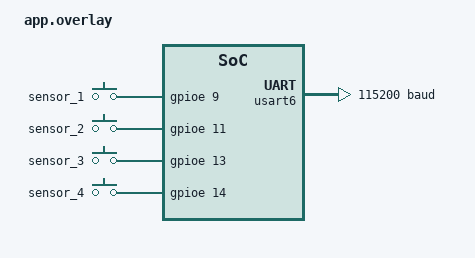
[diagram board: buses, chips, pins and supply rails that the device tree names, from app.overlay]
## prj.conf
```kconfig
CONFIG_CMSIS_DSP=y
CONFIG_CMSIS_DSP_CONTROLLER=y
CONFIG_CMSIS_DSP_FASTMATH=y

CONFIG_MOTOR=y
CONFIG_MOTOR_COMMON=y
CONFIG_MOTOR_DM=y
CONFIG_MOTOR_VESC=y
CONFIG_MOTOR_LK=y
CONFIG_MOTOR_LOG_LEVEL=4
CONFIG_CAN=y
CONFIG_MOTOR_INIT_PRIORITY=90
CONFIG_FPU=y
CONFIG_FPU_SHARING=y
CONFIG_ARES=y
CONFIG_ARES_SBUS=y
CONFIG_EKF_LIB=y
CONFIG_SERIAL=y
CONFIG_SENSOR=y
CONFIG_BMI08X=n
CONFIG_WIT_HWT906=y

CONFIG_AUTO_PROBE_GYRO_BIAS=y

CONFIG_CHASSIS=y

CONFIG_DUAL_PROPOSE_PROTOCOL=y
CONFIG_UART_INTERFACE=y
CONFIG_ARES_UART_THREAD_STACK_SIZE=1024
CONFIG_USB_BULK_INTERFACE=y
CONFIG_UDC_DRIVER_HIGH_SPEED_SUPPORT_ENABLED=n
CONFIG_USBD_MAX_SPEED_FULL=y

# CONFIG_SEGGER_SYSTEMVIEW=y

# CONFIG_TRACING_SYSCALL=n

CONFIG_UDC_DRIVER_LOG_LEVEL_WRN=y
CONFIG_USBD_LOG_LEVEL_WRN=y

CONFIG_LOG_MODE_DEFERRED=y

CONFIG_LOG_BUFFER_SIZE=4096

CONFIG_CBPRINTF_FP_SUPPORT=y
```

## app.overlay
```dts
/ {
	chassis: chassis {
		compatible = "ares,chassis";
		status = "okay";
		wheels = <&steerwheel1  (-5650) (-5650)>,
				<&steerwheel2 (5650) (5650)>,
				<&steerwheel3 (-5650) (5650)>,
				<&steerwheel4 (5650) (-5650)>;
		angle-pid = <&chassis_roll_angle_pid>;
		track_angle;
		max_linear_accel = "15";
	};
	steerwheel {
		steerwheel1: steerwheel1 {
			#wheel-cells = <2>;
			compatible = "ares,steerwheel";
			status = "okay";
			steer-motor = <&motor_steer0>;
			wheel-motor = <&motor_wheel0>;
			wheel-radius = "0.04";
			angle-offset = "295";
			multi_turn;
		};

		steerwheel2: steerwheel2 {
			#wheel-cells = <2>;
			compatible = "ares,steerwheel";
			status = "okay";
			steer-motor = <&motor_steer1>;
			wheel-motor = <&motor_wheel1>;
			wheel-radius = "0.04";
			angle-offset = "277.6";
			multi_turn;
		};

		steerwheel3: steerwheel3 {
			#wheel-cells = <2>;
			compatible = "ares,steerwheel";
			status = "okay";
			steer-motor = <&motor_steer2>;
			wheel-motor = <&motor_wheel2>;
			wheel-radius = "0.04";
			angle-offset = "296.7";
			multi_turn;
		};
		steerwheel4: steerwheel4 {
			#wheel-cells = <2>;
			compatible = "ares,steerwheel";
			status = "okay";
			steer-motor = <&motor_steer3>;
			wheel-motor = <&motor_wheel3>;
			wheel-radius = "0.04";
			angle-offset = "172.2";
			multi_turn;
		};
	};

	motor {
		motor_wheel0: motor_wheel0{
			compatible = "vesc,motor";
            id = <41>;
            can_channel = <&can2>;
            capabilities = "angle", "speed", "torque";
            gear_ratio = "1.0f";
            kv = "150.0f";
            pole_pairs = "14";
            p_max = "12.57f";
            v_max = "314.0f";
            t_max = "1.5f";
            i_max = "2.f";
            status = "okay";
		};

		motor_wheel1: motor_wheel1{
			compatible = "vesc,motor";
            id = <42>;
            can_channel = <&can1>;
            capabilities = "angle", "speed", "torque";
            gear_ratio = "1.0f";
            kv = "150.0f";
            pole_pairs = "14";
            p_max = "12.57f";
            v_max = "314.0f";
            t_max = "1.5f";
            i_max = "2.f";
            status = "okay";
		};

		motor_wheel2: motor_wheel2{
			compatible = "vesc,motor";
            id = <43>;
            can_channel = <&can2>;
            capabilities = "angle", "speed", "torque";
            gear_ratio = "1.0f";
            kv = "150.0f";
            pole_pairs = "14";
            p_max = "12.57f";
            v_max = "314.0f";
            t_max = "1.5f";
            i_max = "2.f";
            status = "okay";
		};
		motor_wheel3: motor_wheel3{
			compatible = "vesc,motor";
            id = <44>;
            can_channel = <&can1>;
            capabilities = "angle", "speed", "torque";
            gear_ratio = "1.0f";
            kv = "150.0f";
            pole_pairs = "14";
            p_max = "12.57f";
            v_max = "314.0f";
            t_max = "1.5f";
            i_max = "2.f";
            status = "okay";
		};
		motor_steer0: motor_steer0{
			compatible = "lk,motor";
			id = <1>;
			rx_id = <0x00>;
			tx_id = <0x01>;
			status = "okay";
			can_channel = <&can2>;
			controllers = <&steer_angle_pid &steer_speed_pid &steer_torque_pid>;
			capabilities = "angle", "speed", "torque";
		};

		motor_steer1: motor_steer1{
			compatible = "lk,motor";
			id = <2>;
			rx_id = <0x00>;
			tx_id = <0x02>;
			status = "okay";
			can_channel = <&can1>;
			controllers = <&steer_angle_pid &steer_speed_pid &steer_torque_pid>;
			capabilities = "angle", "speed", "torque";
		};

		motor_steer2: motor_steer2{
			compatible = "lk,motor";
			id = <3>;
			rx_id = <0x00>;
			tx_id = <0x03>;
			status = "okay";
			can_channel = <&can2>;
			controllers = <&steer_angle_pid &steer_speed_pid &steer_torque_pid>;
			capabilities = "angle", "speed", "torque";
		};
		motor_steer3: motor_steer3{
			compatible = "lk,motor";
			id = <4>;
			rx_id = <0x00>;
			tx_id = <0x04>;
			status = "okay";
			can_channel = <&can1>;
			controllers = <&steer_angle_pid &steer_speed_pid &steer_torque_pid>;
			capabilities = "angle", "speed", "torque";
		};
		dm_motor0: dm_motor0{
			compatible = "dm,motor";
			id = <1>;
			rx_id = <0x1A>;
			tx_id = <0x0A>;
			v_max = "785";
			status = "okay";
			can_channel = <&can2>;
			controllers = <&mit>;
			capabilities = "mit";
			t_max = "5";
			freq = <1000>;
		};
		dm_motor1: dm_motor1{
			compatible = "dm,motor";
			id = <2>;
			rx_id = <0x1B>;
			tx_id = <0x0B>;
			v_max = "785";
			status = "okay";
			can_channel = <&can1>;
			controllers = <&mit>;
			capabilities = "mit";
			t_max = "5";
			freq = <1000>;
		};
		dm_motor2: dm_motor2{
			compatible = "dm,motor";
			id = <3>;
			rx_id = <0x1C>;
			tx_id = <0x0C>;
			v_max = "785";
			status = "okay";
			can_channel = <&can2>;
			controllers = <&mit>;
			capabilities = "mit";
			t_max = "5";
			freq = <1000>;
		};
		dm_motor3: dm_motor3{
			compatible = "dm,motor";
			id = <4>;
			rx_id = <0x1D>;
			tx_id = <0x0D>;
			v_max = "785";
			status = "okay";
			can_channel = <&can1>;
			controllers = <&mit>;
			capabilities = "mit";
			t_max = "5";
			freq = <1000>;
		};
	};
	buttons {
        compatible = "gpio-keys";

        /* 定义第一个光电开关，节点标签为 sensor_1 */
        sensor_1: photoelectric_switch_1 {
            /* 注意：这里的 &gpio0 和 12 需要根据你实际的板子修改 */
            gpios = <&gpioe 9 (GPIO_ACTIVE_HIGH | GPIO_PULL_DOWN)>;
        };

        /* 定义第二个光电开关，节点标签为 sensor_2 */
        sensor_2: photoelectric_switch_2 {
            /* 注意：这里的 &gpio0 和 13 需要根据你实际的板子修改 */
            gpios = <&gpioe 11 (GPIO_ACTIVE_HIGH | GPIO_PULL_DOWN)>;
        };
		sensor_3: photoelectric_switch_3 {
            /* 注意：这里的 &gpio0 和 12 需要根据你实际的板子修改 */
            gpios = <&gpioe 13 (GPIO_ACTIVE_HIGH | GPIO_PULL_DOWN)>;
        };

        /* 定义第二个光电开关，节点标签为 sensor_2 */
        sensor_4: photoelectric_switch_4 {
            /* 注意：这里的 &gpio0 和 13 需要根据你实际的板子修改 */
            gpios = <&gpioe 14 (GPIO_ACTIVE_HIGH | GPIO_PULL_DOWN)>;
        };
    };
	pid {
		
		mit: mit{
			compatible = "pid,single";
			k_p = "60.0";
			k_d = "1.0";
		};
		steer_angle_pid: steer_angle_pid {
			#controller-cells = <0>;
			compatible = "pid,single";
			k_p = "40";
			k_i = "0.1";
			k_d = "5";
		};
		steer_speed_pid: steer_speed_pid {
			#controller-cells = <0>;
			compatible = "pid,single";
			k_p = "100";
			k_i = "0.1";
			k_d = "10";
		};

		steer_torque_pid: steer_torque_pid {
			#controller-cells = <0>;
			compatible = "pid,single";
			k_p = "150";
			k_i = "1.0";
			k_d = "15";
			
		};
		chassis_roll_angle_pid: chassis_roll_angle_pid {
			#controller-cells = <0>;
			compatible = "pid,single";
			k_p = "0.3";
			k_d = "2.7";
		};

		
	};
	
	sbus0: sbus0 {
		compatible = "ares,sbus";
		status = "okay";
	};
};
&cdc_acm_uart0 {
	status = "disabled";
};

&usart6 {
	status = "okay";
	current-speed = <115200>;

	hwtimu: hwt906 {
		compatible = "wit,hwt906";
		status = "disabled";
	};
};
```

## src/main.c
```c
#include <math.h>
#include <stdbool.h>
#include <stddef.h>
#include <stdint.h>
#include <errno.h>
#include <zephyr/device.h>
#include <zephyr/logging/log.h>
#include <zephyr/kernel.h>
#include <zephyr/drivers/motor.h>
#include <zephyr/drivers/sbus.h>
#include <zephyr/drivers/chassis.h>
#include <ares/board/init.h>
#include <ares/interface/usb/usb_bulk.h>
#include <ares/interface/uart/uart.h>
#include <ares/protocol/dual/dual_protocol.h>
#include <ares/ares_comm.h>
#include <sys/_stdint.h>
#include "devices.h"
#include "zephyr/drivers/gpio.h"
#include <arm_math.h>

LOG_MODULE_REGISTER(main, LOG_LEVEL_DBG);
#define deg2high(deg)  ((deg)*3.14159f * 45.0f / 360.0f)
#define high2deg(high) ((high)*360.0f / (3.14159f * 45.0f))
#define CHASSIS_CMD_X_IDX      0
#define CHASSIS_CMD_Y_IDX      1
#define CHASSIS_CMD_GYRO_IDX   2
#define CHASSIS_RX_TIMEOUT_MISSES 10U

/* Runtime source select: SBUS channel 5 controls speed source
 * Channel 5 > 0.3 (switch up) -> SBUS, else -> USB
 * When SBUS not receiving, channel returns 0.0 -> falls back to USB */
#define SBUS_SRC_SWITCH_CH 5

/* ==================== USB 协议 (原 2026_R2usb_imu) ==================== */

DUAL_PROPOSE_PROTOCOL_DEFINE(dual_protocol);
ARES_BULK_INTERFACE_DEFINE(usb_bulk_interface);

/* ==================== UART 协议 (对 relay_comm) ==================== */

#define RELAY_UART_NODE DT_NODELABEL(usart6)
static const struct device *relay_uart_dev = DEVICE_DT_GET(RELAY_UART_NODE);

ARES_UART_INTERFACE_DEFINE(relay_uart_interface);
DUAL_PROPOSE_PROTOCOL_DEFINE(relay_uart_protocol);

/* relay_comm UART 侧同步 ID */
#define RELAY_UART_SYNC_TX 0x0200 /* 发给 relay_comm (对应其 RX) */
#define RELAY_UART_SYNC_RX 0x0100 /* 收自 relay_comm (对应其 TX) */

/* relay 数据 USB 侧同步 ID */
#define RELAY_USB_SYNC_TX 0x0202 /* 上传 relay 状态给 PC */
#define RELAY_USB_SYNC_RX 0x0103 /* 接收 PC 的 relay 指令 */

/* 2 个 float = 8 字节 */
#define RELAY_DATA_LEN 8

/* 标志位 magic number (UART 侧, 与 relay_comm 一致) */
typedef union {
	float    f;
	uint32_t u;
} flag_val_t;

#define RELAY_FLAG_DONE_U32    0x4B0CD0F1
#define RELAY_FLAG_PENDING_U32 0x4E0DD0F1

/* USB 侧简化标志 */
#define USB_FLAG_DONE    -1.0f
#define USB_FLAG_PENDING  1.0f

/* UART 侧缓冲区 */
static float relay_uart_tx[2];
static float relay_uart_rx[2];
static uint8_t relay_uart_tx_buf[RELAY_DATA_LEN];
static uint8_t relay_uart_rx_buf[RELAY_DATA_LEN];

/* USB 侧缓冲区 */
static float relay_usb_tx[2];
static float relay_usb_rx[2];
static uint8_t relay_usb_tx_buf[RELAY_DATA_LEN];
static uint8_t relay_usb_rx_buf[RELAY_DATA_LEN];

/* 同步表 */
static sync_table_t *relay_uart_tx_pack;
static sync_table_t *relay_uart_rx_pack;
static sync_table_t *relay_usb_tx_pack;
static sync_table_t *relay_usb_rx_pack;

/* 统计 */
static uint32_t relay_uart_rx_cnt;
static uint32_t relay_uart_tx_cnt;
static uint32_t relay_usb_rx_cnt;
static uint32_t relay_usb_tx_cnt;
static uint32_t relay_usb_tx_fail;
static uint32_t relay_uart_tx_fail;
static uint32_t angle_tx_fail;

/* 优雅退化: 持续失败不刷屏, 每个错误独立计数 */
static uint32_t uart_fwd_fail_last_log;
static uint32_t usb_tx_fail_last_log;
static uint32_t angle_fail_last_log;

/* ==================== Relay 标志位转换 ==================== */

static float convert_relay_flag_to_usb(float relay_flag)
{
	flag_val_t v;
	v.f = relay_flag;
	if (v.u == RELAY_FLAG_DONE_U32) {
		return USB_FLAG_DONE;
	}
	return USB_FLAG_PENDING;
}

/* ==================== Relay UART 接收回调 (从 relay_comm 来) ==================== */

static void relay_uart_rx_cb(int status)
{
	if (status == SYNC_PACK_STATUS_DONE) {
		relay_uart_rx_cnt++;
		memcpy(relay_uart_rx, relay_uart_rx_buf, RELAY_DATA_LEN);
		relay_usb_tx[0] = convert_relay_flag_to_usb(relay_uart_rx[0]);
		relay_usb_tx[1] = relay_uart_rx[1];
		memcpy(relay_usb_tx_buf, relay_usb_tx, RELAY_DATA_LEN);
		/* 每 500 帧 (~5s) 打印 */
		if (relay_uart_rx_cnt % 500 == 0) {
			LOG_INF("[UART_RX] #%u flag_raw=0x%08X done=%.0f",
				relay_uart_rx_cnt,
				((flag_val_t *)relay_uart_rx)[0].u,
				(double)relay_usb_tx[0]);
		}
	}
}

/* ==================== Relay USB 接收回调 (从 PC 来, 转发给 relay_comm) ==================== */

static void relay_usb_rx_cb(int status)
{
	if (status == SYNC_PACK_STATUS_DONE) {
		relay_usb_rx_cnt++;
		memcpy(relay_usb_rx, relay_usb_rx_buf, RELAY_DATA_LEN);
		memcpy(relay_uart_tx, relay_usb_rx, sizeof(relay_usb_rx));
		memcpy(relay_uart_tx_buf, relay_uart_tx, RELAY_DATA_LEN);
		int ret = dual_sync_flush(&relay_uart_protocol, relay_uart_tx_pack);
		if (ret != 0) {
			relay_uart_tx_fail++;
			if (uart_fwd_fail_last_log == 0 ||
			    relay_uart_tx_fail - uart_fwd_fail_last_log >= 100) {
				LOG_ERR("[USB_RX] UART forward fail: %d (fail=%u)",
					ret, relay_uart_tx_fail);
				uart_fwd_fail_last_log = relay_uart_tx_fail;
			}
		}
		relay_uart_tx_cnt++;
		/* 每 500 个 PC 指令打印一次 */
		if (relay_usb_rx_cnt % 500 == 0) {
			LOG_INF("[USB_RX] #%u cmd=%d sub=%.2f", relay_usb_rx_cnt,
				(int)relay_usb_rx[0], (double)relay_usb_rx[1]);
		}
	}
}

/* ==================== Relay UART 初始化 ==================== */

static int relay_uart_init(void)
{
	if (!device_is_ready(relay_uart_dev)) {
		LOG_WRN("Relay UART 设备未就绪, 跳过 relay 桥接");
		return -ENODEV;
	}

	ares_uart_init_dev(&relay_uart_interface, relay_uart_dev);
	int ret = ares_bind_interface(&relay_uart_interface, &relay_uart_protocol);
	if (ret < 0) {
		LOG_ERR("Relay UART 绑定失败: %d", ret);
		return ret;
	}

	/* UART 侧: TX 发给 relay_comm, RX 收自 relay_comm */
	relay_uart_tx_pack = dual_sync_add(&relay_uart_protocol, RELAY_UART_SYNC_TX,
					   relay_uart_tx_buf, RELAY_DATA_LEN, NULL);
	relay_uart_rx_pack = dual_sync_add(&relay_uart_protocol, RELAY_UART_SYNC_RX,
					   relay_uart_rx_buf, RELAY_DATA_LEN, relay_uart_rx_cb);

	/* USB 侧: TX 上传给 PC, RX 收自 PC */
	relay_usb_tx_pack = dual_sync_add(&dual_protocol, RELAY_USB_SYNC_TX,
					  relay_usb_tx_buf, RELAY_DATA_LEN, NULL);
	relay_usb_rx_pack = dual_sync_add(&dual_protocol, RELAY_USB_SYNC_RX,
					  relay_usb_rx_buf, RELAY_DATA_LEN, relay_usb_rx_cb);

	LOG_INF("Relay 桥接初始化完成 (UART TX:0x%04X RX:0x%04X, USB TX:0x%04X RX:0x%04X)",
		RELAY_UART_SYNC_TX, RELAY_UART_SYNC_RX,
		RELAY_USB_SYNC_TX, RELAY_USB_SYNC_RX);
	return 0;
}

/* ==================== 底盘 / 电机 / 传感器 (原 2026_R2usb_imu, 不变) ==================== */

sync_table_t *angle_tx;

float chassis_cmd[3] = {0};
float height_cmd[4] = {0};
float angle[12] = {0};
uint8_t chassis_cmd_buf[12] = {0};
uint8_t height_cmd_buf[16] = {0};
uint8_t anglebuf[48] = {0};

static struct gpio_callback sensor1_cb_data;
static struct gpio_callback sensor2_cb_data;
static struct gpio_callback sensor3_cb_data;
static struct gpio_callback sensor4_cb_data;
static volatile uint32_t chassis_rx_count;
static volatile uint32_t height_rx_count;

void unified_sensor_callback(const struct device *port, struct gpio_callback *cb, uint32_t pins);

static void clear_chassis_cmd(void)
{
	chassis_cmd[CHASSIS_CMD_X_IDX] = 0.0f;
	chassis_cmd[CHASSIS_CMD_Y_IDX] = 0.0f;
	chassis_cmd[CHASSIS_CMD_GYRO_IDX] = 0.0f;
}

static int check_device_ready(const struct device *dev, const char *name)
{
	if (dev == NULL || !device_is_ready(dev)) {
		LOG_ERR("device not ready: %s", name);
		return -ENODEV;
	}

	return 0;
}

static int setup_sensor_input(const struct gpio_dt_spec *sensor, struct gpio_callback *cb_data,
			      const char *name)
{
	int ret;

	if (!gpio_is_ready_dt(sensor)) {
		LOG_ERR("gpio not ready: %s", name);
		return -ENODEV;
	}

	ret = gpio_pin_configure_dt(sensor, GPIO_INPUT);
	if (ret < 0) {
		LOG_ERR("failed to configure %s: %d", name, ret);
		return ret;
	}

	ret = gpio_pin_interrupt_configure_dt(sensor, GPIO_INT_EDGE_BOTH);
	if (ret < 0) {
		LOG_ERR("failed to configure irq for %s: %d", name, ret);
		return ret;
	}

	gpio_init_callback(cb_data, unified_sensor_callback, BIT(sensor->pin));
	ret = gpio_add_callback(sensor->port, cb_data);
	if (ret < 0) {
		LOG_ERR("failed to add callback for %s: %d", name, ret);
		return ret;
	}

	return 0;
}

void unified_sensor_callback(const struct device *port, struct gpio_callback *cb, uint32_t pins)
{
	if (port == sensor1.port && (pins & BIT(sensor1.pin))) {
		if (gpio_pin_get_dt(&sensor1) > 0) {
			angle[0] = 1.0f;
		} else {
			angle[0] = 0.0f;
		}
	}

	if (port == sensor2.port && (pins & BIT(sensor2.pin))) {
		if (gpio_pin_get_dt(&sensor2) > 0) {
			angle[1] = 1.0f;
		} else {
			angle[1] = 0.0f;
		}
	}

	if (port == sensor3.port && (pins & BIT(sensor3.pin))) {
		if (gpio_pin_get_dt(&sensor3) > 0) {
			angle[2] = 1.0f;
		} else {
			angle[2] = 0.0f;
		}
	}

	if (port == sensor4.port && (pins & BIT(sensor4.pin))) {
		if (gpio_pin_get_dt(&sensor4) > 0) {
			angle[3] = 1.0f;
		} else {
			angle[3] = 0.0f;
		}
	}
}

int rank[4] = {1, 1, -1, -1};
bool ups[4] = {true, true, true, true};
const struct device *dmmotor[4];
void run()
{
	for (int id = 0; id < 4; id++) {
		motor_set_mit(dmmotor[id], 10.0f, -30.0f * rank[id], 0.0);
		ups[id] = true;
		k_sleep(K_USEC(130));
	}
}
void lift(int id, bool up)
{
	if (up && (!ups[id])) {
		motor_set_mit(dmmotor[id], 10.0f, 0.0f * rank[id], 0.0);
		ups[id] = true;
	} else if ((!up) && (ups[id])) {
		motor_set_mit(dmmotor[id], 10.0f, -510.0f * rank[id], 0.0);
		ups[id] = false;
	}
	k_sleep(K_USEC(130));
}
void lifthigh(int id, float high)
{
	if (high > 400.0f) {
		high = 400.0f;
	} else if (high < 0.0f) {
		high = 0.0f;
	}
	if (dmmotor[id] != NULL) {
		motor_set_mit(dmmotor[id], 80.0f, -1.0f * rank[id] * (float)high2deg(high), 0.0f);
	}

	k_sleep(K_USEC(130));
}
int cnt = 0;
void console_feedback(void *arg1, void *arg2, void *arg3)
{

	bool zeroed = false;
	float linear_magnitude;
	bool in_deadzone;
	float X = 0.0f, Y = 0.0f, angvel = 0.0f;
	while (1) {
		k_msleep(2);

		lifthigh(0, height_cmd[0]);
		lifthigh(1, height_cmd[1]);
		lifthigh(2, height_cmd[2]);
		lifthigh(3, height_cmd[3]);

		if (sbus_get_percent(sbus, SBUS_SRC_SWITCH_CH) > 0.3f) {
			/* Speed source: SBUS */
			angvel = -sbus_get_percent(sbus, 0);
			X = -sbus_get_percent(sbus, 3);
			Y = -sbus_get_percent(sbus, 1);

			angle[11] = sbus_get_percent(sbus, 4);
			linear_magnitude = sqrtf(X * X + Y * Y);
			in_deadzone = ((linear_magnitude < 0.06f) && (fabsf(angvel) < 0.06f));
			if (linear_magnitude < 0.06f) {
				X = 0;
				Y = 0;
			}
			if (in_deadzone) {
				// chassis_set_static(chassis, true);
				chassis_set_speed(chassis, 0, 0);
				chassis_set_gyro(chassis, 0);
				zeroed = true;
			} else {
				chassis_set_static(chassis, false);
				chassis_set_speed(chassis, Y, X);
				chassis_set_gyro(chassis, angvel);
				angle[8] = X;
				angle[9] = Y;
				angle[10] = angvel * 10.0f;
				zeroed = false;
			}
		} else {
			/* Speed source: USB */
			X = chassis_cmd[CHASSIS_CMD_X_IDX];
			Y = chassis_cmd[CHASSIS_CMD_Y_IDX];
			angvel = chassis_cmd[CHASSIS_CMD_GYRO_IDX];
			chassis_set_static(chassis, false);
			chassis_set_speed(chassis, X, Y);
			chassis_set_gyro(chassis, angvel);
			zeroed = false;
			angle[8] = X;
			angle[9] = Y;
			angle[10] = angvel;
		}
		if (cnt++ % 1000 == 0) {
			LOG_INF("[CHASSIS] sensor=[%.0f,%.0f,%.0f,%.0f] high=[%.1f,%.1f,%.1f,%.1f] cmd=(%.1f,%.1f,%.1f) rx(ch=%u,h=%u)",
				(double)angle[0], (double)angle[1],
				(double)angle[2], (double)angle[3],
				(double)angle[4], (double)angle[5],
				(double)angle[6], (double)angle[7],
				(double)X, (double)Y, (double)angvel,
				chassis_rx_count, height_rx_count);
		}
	}
}

K_THREAD_DEFINE(feedback_thread, 4096, console_feedback, NULL, NULL, NULL, 2, 0, 100);
uint32_t log_cnt;

int chassis_cmd_rx_cb(int status)
{
	if (status == SYNC_PACK_STATUS_DONE) {
		memcpy(chassis_cmd, chassis_cmd_buf, sizeof(chassis_cmd));
		chassis_rx_count++;
	}
	return 0;
}

int height_cmd_rx_cb(int status)
{

	if (status == SYNC_PACK_STATUS_DONE) {
		memcpy(height_cmd, height_cmd_buf, sizeof(height_cmd));
		height_rx_count++;

	}
	return 0;
}
int prepare(void)
{
	int ret;

	ret = check_device_ready(chassis, "chassis");
	if (ret < 0) {
		return ret;
	}

	ret = check_device_ready(dm_motor1, "dm_motor1");
	if (ret < 0) {
		return ret;
	}
	ret = check_device_ready(dm_motor2, "dm_motor2");
	if (ret < 0) {
		return ret;
	}
	ret = check_device_ready(dm_motor3, "dm_motor3");
	if (ret < 0) {
		return ret;
	}
	ret = check_device_ready(dm_motor4, "dm_motor4");
	if (ret < 0) {
		return ret;
	}
	ret = check_device_ready(wheel_motor1, "wheel_motor1");
	if (ret < 0) {
		return ret;
	}
	ret = check_device_ready(wheel_motor2, "wheel_motor2");
	if (ret < 0) {
		return ret;
	}
	ret = check_device_ready(wheel_motor3, "wheel_motor3");
	if (ret < 0) {
		return ret;
	}
	ret = check_device_ready(wheel_motor4, "wheel_motor4");
	if (ret < 0) {
		return ret;
	}
	ret = check_device_ready(steer_motor1, "steer_motor1");
	if (ret < 0) {
		return ret;
	}
	ret = check_device_ready(steer_motor2, "steer_motor2");
	if (ret < 0) {
		return ret;
	}
	ret = check_device_ready(steer_motor3, "steer_motor3");
	if (ret < 0) {
		return ret;
	}
	ret = check_device_ready(steer_motor4, "steer_motor4");
	if (ret < 0) {
		return ret;
	}
	ret = check_device_ready(sbus, "sbus");
	if (ret < 0) {
		return ret;
	}

	dmmotor[0] = dm_motor1;
	dmmotor[1] = dm_motor2;
	dmmotor[2] = dm_motor3;
	dmmotor[3] = dm_motor4;
	motor_control(dm_motor1, ENABLE_MOTOR);
	motor_control(dm_motor2, ENABLE_MOTOR);
	motor_control(dm_motor3, ENABLE_MOTOR);
	motor_control(dm_motor4, ENABLE_MOTOR);
	motor_set_mode(dm_motor1, MIT);
	motor_set_mode(dm_motor2, MIT);
	motor_set_mode(dm_motor3, MIT);
	motor_set_mode(dm_motor4, MIT);
	motor_control(wheel_motor1, ENABLE_MOTOR);
	motor_control(wheel_motor2, ENABLE_MOTOR);
	motor_control(wheel_motor3, ENABLE_MOTOR);
	motor_control(wheel_motor4, ENABLE_MOTOR);
	motor_set_mode(wheel_motor1, ML_SPEED);
	motor_set_mode(wheel_motor2, ML_SPEED);
	motor_set_mode(wheel_motor3, ML_SPEED);
	motor_set_mode(wheel_motor4, ML_SPEED);
	motor_control(steer_motor1, ENABLE_MOTOR);
	motor_control(steer_motor2, ENABLE_MOTOR);
	motor_control(steer_motor3, ENABLE_MOTOR);
	motor_control(steer_motor4, ENABLE_MOTOR);

	ret = setup_sensor_input(&sensor1, &sensor1_cb_data, "sensor1");
	if (ret < 0) {
		return ret;
	}
	ret = setup_sensor_input(&sensor2, &sensor2_cb_data, "sensor2");
	if (ret < 0) {
		return ret;
	}
	ret = setup_sensor_input(&sensor3, &sensor3_cb_data, "sensor3");
	if (ret < 0) {
		return ret;
	}
	ret = setup_sensor_input(&sensor4, &sensor4_cb_data, "sensor4");
	if (ret < 0) {
		return ret;
	}

	angle[0] = gpio_pin_get_dt(&sensor1) > 0 ? 1.0f : 0.0f;
	angle[1] = gpio_pin_get_dt(&sensor2) > 0 ? 1.0f : 0.0f;
	angle[2] = gpio_pin_get_dt(&sensor3) > 0 ? 1.0f : 0.0f;
	angle[3] = gpio_pin_get_dt(&sensor4) > 0 ? 1.0f : 0.0f;

	return 0;
}
int main(void)
{
	int ret;
	sync_table_t *chassis_rx;
	sync_table_t *height_rx;
	uint32_t last_chassis_rx_count = 0U;
	uint32_t missed_chassis_cycles = 0U;

	k_msleep(100);
	ret = prepare();
	if (ret < 0) {
		LOG_ERR("prepare failed: %d", ret);
		return ret;
	}

	run();
	chassis_set_enabled(chassis, true);
	chassis_set_gyro(chassis, 0);
	LOG_INF("2026_R2usb_arm started: 0x0101=chassis, 0x0102=height, 0x0103=relay_cmd, 0x0201=telem, 0x0202=relay_stat");

	ret = ares_bind_interface(&usb_bulk_interface, &dual_protocol);
	if (ret < 0) {
		LOG_ERR("failed to bind usb interface: %d", ret);
		return ret;
	}

	chassis_rx = dual_sync_add(&dual_protocol, 0x0101, chassis_cmd_buf, sizeof(chassis_cmd_buf),
				     (dual_trans_cb_t)chassis_cmd_rx_cb);
	height_rx = dual_sync_add(&dual_protocol, 0x0102, height_cmd_buf, sizeof(height_cmd_buf),
				    (dual_trans_cb_t)height_cmd_rx_cb);
	angle_tx = dual_sync_add(&dual_protocol, 0x0201, anglebuf, 48, NULL);
	if (chassis_rx == NULL || height_rx == NULL || angle_tx == NULL) {
		LOG_ERR("failed to register dual sync packs");
		return -ENOMEM;
	}

	/* relay 桥接初始化 (失败不阻塞, 仅打印警告) */
	relay_uart_init();

	/* relay_usb_tx[0] 初始化为 PENDING，避免数据通之前 done=0 */
	relay_usb_tx[0] = USB_FLAG_PENDING;

	bool usb_toggle = false;

	while (1) {
		k_msleep(5);

		if (chassis_rx_count != last_chassis_rx_count) {
			last_chassis_rx_count = chassis_rx_count;
			missed_chassis_cycles = 0U;
		} else if (missed_chassis_cycles < CHASSIS_RX_TIMEOUT_MISSES) {
			missed_chassis_cycles++;
		}

		if (missed_chassis_cycles >= CHASSIS_RX_TIMEOUT_MISSES) {
			clear_chassis_cmd();
		}

		for (int i = 0; i < 4; i++) {
			if(rank[i] == 1) {
				angle[i + 4] = -1.0f * deg2high((float)motor_get_angle(dmmotor[i]));
			} else {
				angle[i + 4] = 900.0f + deg2high((float)motor_get_angle(dmmotor[i]));
			}
		}
		memcpy(anglebuf, angle, sizeof(angle));

		/* 交替发送 angle_tx 和 relay_usb_tx (各 100Hz)，
		 * 避免同一 USB 接口 200Hz 双 flush 导致 EBUSY */
		usb_toggle = !usb_toggle;

		if (usb_toggle) {
			int ret = dual_sync_flush(&dual_protocol, angle_tx);
			if (ret != 0 && ret != -EBUSY) {
				angle_tx_fail++;
				if (angle_fail_last_log == 0 ||
				    angle_tx_fail - angle_fail_last_log >= 100) {
					LOG_ERR("[USB_ANGLE_FAIL] ret=%d (fail=%u)", ret, angle_tx_fail);
					angle_fail_last_log = angle_tx_fail;
				}
			}
		}

		/* relay_usb_tx 数据由 relay_uart_rx_cb 填充，此处无需额外处理 */

		/* 上传 relay 状态给 PC */
		if (!usb_toggle && relay_usb_tx_pack != NULL) {
			int ret = dual_sync_flush(&dual_protocol, relay_usb_tx_pack);
			if (ret != 0) {
				relay_usb_tx_fail++;
				/* EBUSY(-16) 静默; 其他错误每100次报一次 */
				if (ret != -EBUSY &&
				    (usb_tx_fail_last_log == 0 ||
				     relay_usb_tx_fail - usb_tx_fail_last_log >= 100)) {
					LOG_ERR("[USB_TX_FAIL] ret=%d (fail=%u)", ret, relay_usb_tx_fail);
					usb_tx_fail_last_log = relay_usb_tx_fail;
				}
			}
			relay_usb_tx_cnt++;
		}

		/* 每约 1 秒 (100 帧 relay TX) 汇总统计, 任何异常都在这一行体现 */
		if (relay_usb_tx_cnt > 0 && relay_usb_tx_cnt % 100 == 0) {
			LOG_INF("[RELAY] usb_rx=%u usb_tx=%u(fail=%u) uart_rx=%u uart_tx=%u(fail=%u) angle_fail=%u | done=%.0f",
				relay_usb_rx_cnt, relay_usb_tx_cnt, relay_usb_tx_fail,
				relay_uart_rx_cnt, relay_uart_tx_cnt, relay_uart_tx_fail,
				angle_tx_fail,
				(double)relay_usb_tx[0]);
		}
	}

	return 0;
}
```
